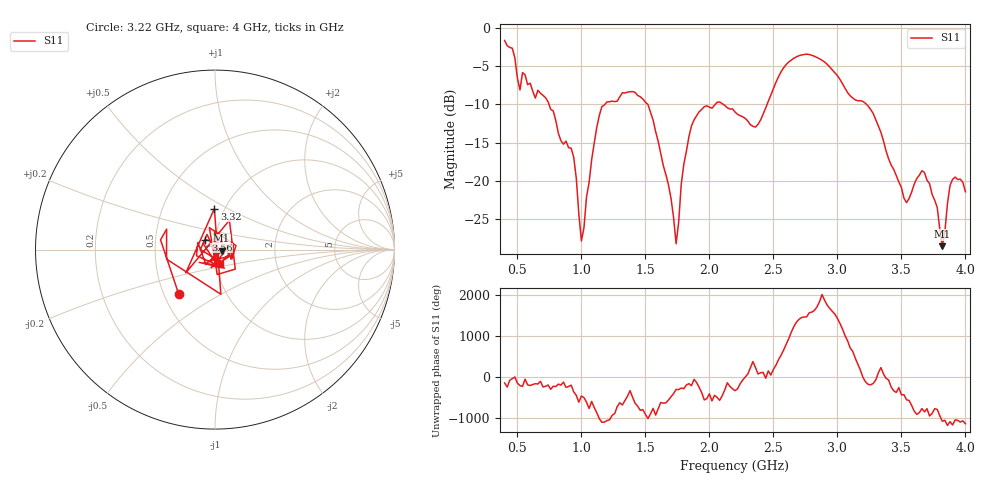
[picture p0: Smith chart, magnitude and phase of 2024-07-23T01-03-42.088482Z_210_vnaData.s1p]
!Created with skrf (http://scikit-rf.org).
# Hz S RI R 50.0
!freq ReS11 ImS11
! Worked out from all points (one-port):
!   181 points, 400 MHz to 4 GHz, reference 50 ohm
!   lowest |S11| = -28.5 dB at 3.82 GHz (marker M1), VSWR 1.08, Z = 53.8 - j0.734 ohm
!   |S11| at or under -10 dB: 746.6 MHz to 1.184 GHz (437.5 MHz wide, 45.3 % of centre); 1.518 GHz to 2.046 GHz (527.7 MHz wide, 29.6 % of centre); 3.227 GHz to end of sweep (the widest 3 of 4)
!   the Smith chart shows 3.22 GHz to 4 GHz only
!   S11 on the Smith chart (normalised r, x): 3.22 GHz: 0.60, -0.33; 3.32 GHz: 0.90, +0.43; 3.56 GHz: 0.89, +0.10; 4 GHz: 1.04, -0.17
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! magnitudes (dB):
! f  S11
! 400 MHz  -1.7
! 460 MHz  -2.7
! 520 MHz  -8.1
! 540 MHz  -5.9
! 720 MHz  -9.1
! 860 MHz  -15.2
! 940 MHz  -16.9
! 1 GHz  -27.9
! 1.14 GHz  -11.4
! 1.3 GHz  -9.0
! 1.52 GHz  -10.0
! 1.68 GHz  -20.5
! 1.74 GHz  -28.2
! 1.76 GHz  -25.4
! 1.8 GHz  -17.9
! 1.88 GHz  -12.0
! 2.2 GHz  -11.0
! 2.36 GHz  -13.0
! 2.66 GHz  -4.0
! 3.1 GHz  -8.9
! 3.22 GHz  -9.9
! 3.32 GHz  -12.8
! 3.56 GHz  -22.3
! 3.68 GHz  -18.9
! 3.78 GHz  -23.5
! 3.82 GHz  -28.5
! 3.9 GHz  -19.8
! 4 GHz  -21.4
